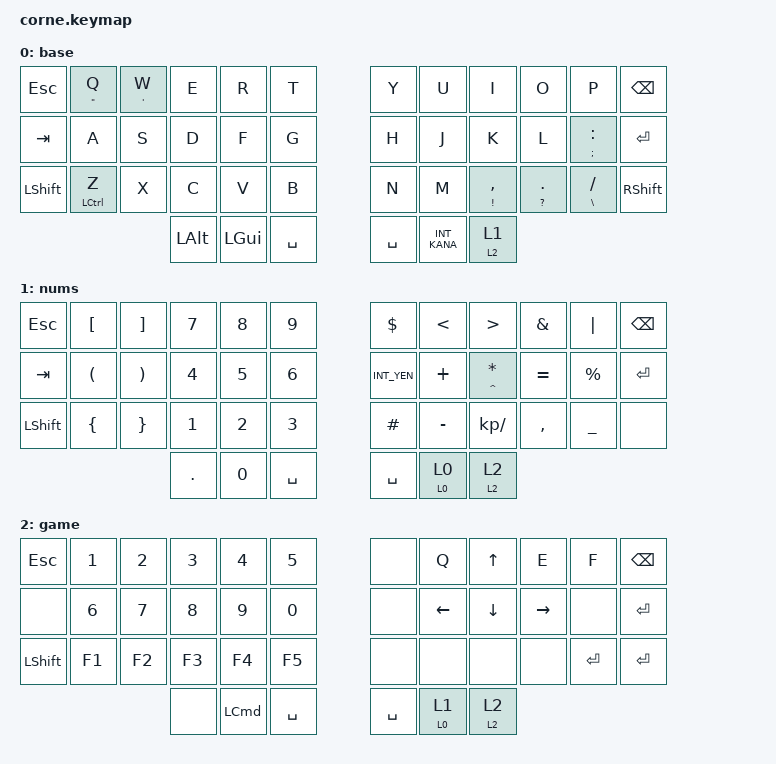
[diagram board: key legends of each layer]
/*
 * Copyright (c) 2020 The ZMK Contributors
 *
 * SPDX-License-Identifier: MIT
 */

#include <behaviors.dtsi>
#include <dt-bindings/zmk/keys.h>

/ {
    combos {
        compatible = "zmk,combos";

        Larrow {
            bindings = <&kp LEFT_ARROW>;
            key-positions = <38 19>;
            layers = <0>;
            timeout-ms = <200>;
        };

        Rarrow {
            bindings = <&kp RIGHT_ARROW>;
            key-positions = <38 21>;
            layers = <0>;
            timeout-ms = <200>;
        };

        Darrow {
            bindings = <&kp DOWN_ARROW>;
            key-positions = <38 20>;
            layers = <0>;
            timeout-ms = <200>;
        };

        Uarrow {
            bindings = <&kp UP_ARROW>;
            key-positions = <38 8>;
            layers = <0>;
            timeout-ms = <200>;
        };
    };

    behaviors {
        layer_jump: layer_jump {
            compatible = "zmk,behavior-hold-tap";
            label = "LAYER_JUMP";
            bindings = <&to>, <&to>;

            #binding-cells = <2>;
            tapping-term-ms = <190>;
            flavor = "balanced";
        };

        tapnhold: tapnhold {
            compatible = "zmk,behavior-hold-tap";
            label = "TAPNHOLD";
            bindings = <&kp>, <&kp>;

            #binding-cells = <2>;
            tapping-term-ms = <190>;
            flavor = "balanced";
        };
    };

    keymap {
        compatible = "zmk,keymap";

        base {
            bindings = <
&kp ESC    &tapnhold DQT Q           &tapnhold SQT W  &kp E     &kp R     &kp T        &kp Y      &kp U         &kp I                 &kp O                      &kp P                 &kp BSPC
&kp TAB    &kp A                     &kp S            &kp D     &kp F     &kp G        &kp H      &kp J         &kp K                 &kp L                      &tapnhold SEMI COLON  &kp RET
&kp LSHFT  &tapnhold LEFT_CONTROL Z  &kp X            &kp C     &kp V     &kp B        &kp N      &kp M         &tapnhold EXCL COMMA  &tapnhold QUESTION PERIOD  &tapnhold BSLH FSLH   &kp RSHFT
                                                      &kp LALT  &kp LGUI  &kp SPACE    &kp SPACE  &kp INT_KANA  &layer_jump 2 1
            >;
        };

        nums {
            bindings = <
&kp ESC     &kp LBKT              &kp RIGHT_BRACKET      &kp N7   &kp N8  &kp N9       &kp DOLLAR   &kp LESS_THAN    &kp GREATER_THAN       &kp AMPERSAND  &kp PIPE        &kp BACKSPACE
&kp TAB     &kp LEFT_PARENTHESIS  &kp RIGHT_PARENTHESIS  &kp N4   &kp N5  &kp N6       &kp INT_YEN  &kp PLUS         &tapnhold CARET ASTRK  &kp EQUAL      &kp PERCENT     &kp ENTER
&kp LSHIFT  &kp LEFT_BRACE        &kp RIGHT_BRACE        &kp N1   &kp N2  &kp N3       &kp HASH     &kp MINUS        &kp KP_DIVIDE          &kp COMMA      &kp UNDERSCORE  &none
                                                         &kp DOT  &kp N0  &kp SPACE    &kp SPACE    &layer_jump 0 0  &layer_jump 2 2
            >;
        };

        game {
            bindings = <
&kp ESC     &kp N1  &kp N2  &kp N3  &kp N4            &kp N5       &none      &kp Q            &kp UP           &kp E      &kp F    &kp BACKSPACE
&none       &kp N6  &kp N7  &kp N8  &kp N9            &kp N0       &none      &kp LEFT         &kp DOWN         &kp RIGHT  &none    &kp RET
&kp LSHIFT  &kp F1  &kp F2  &kp F3  &kp F4            &kp F5       &none      &none            &none            &none      &kp RET  &kp RET
                            &none   &kp LEFT_COMMAND  &kp SPACE    &kp SPACE  &layer_jump 0 1  &layer_jump 2 2
            >;
        };
    };
};
